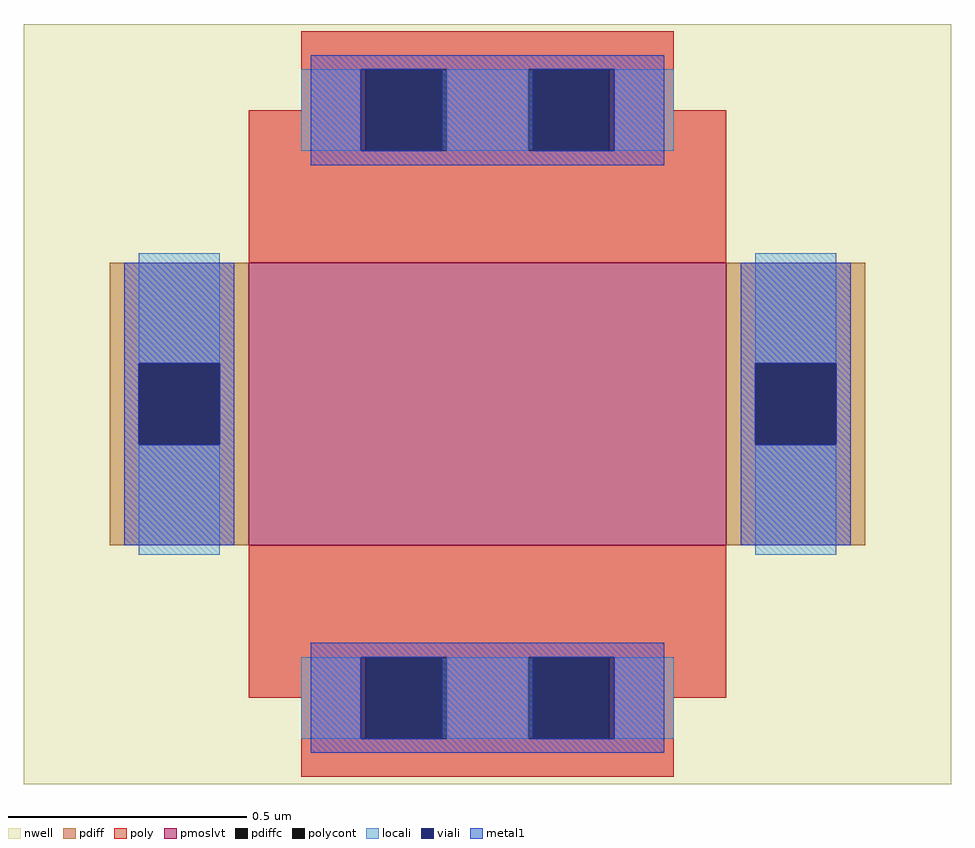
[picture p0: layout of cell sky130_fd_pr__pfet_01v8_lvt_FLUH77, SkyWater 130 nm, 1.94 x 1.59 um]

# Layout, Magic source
magic
tech sky130A
magscale 1 2
<< nwell >>
rect -194 -159 194 159
<< pmoslvt >>
rect -100 -59 100 59
<< pdiff >>
rect -158 17 -100 59
rect -158 -17 -146 17
rect -112 -17 -100 17
rect -158 -59 -100 -17
rect 100 17 158 59
rect 100 -17 112 17
rect 146 -17 158 17
rect 100 -59 158 -17
<< pdiffc >>
rect -146 -17 -112 17
rect 112 -17 146 17
<< poly >>
rect -78 140 78 156
rect -78 123 -51 140
rect -100 106 -51 123
rect -17 106 17 140
rect 51 123 78 140
rect 51 106 100 123
rect -100 59 100 106
rect -100 -106 100 -59
rect -100 -123 -51 -106
rect -78 -140 -51 -123
rect -17 -140 17 -106
rect 51 -123 100 -106
rect 51 -140 78 -123
rect -78 -156 78 -140
<< polycont >>
rect -51 106 -17 140
rect 17 106 51 140
rect -51 -140 -17 -106
rect 17 -140 51 -106
<< locali >>
rect -78 106 -53 140
rect -17 106 17 140
rect 53 106 78 140
rect -146 17 -112 63
rect -146 -63 -112 -17
rect 112 17 146 63
rect 112 -63 146 -17
rect -78 -140 -53 -106
rect -17 -140 17 -106
rect 53 -140 78 -106
<< viali >>
rect -53 106 -51 140
rect -51 106 -19 140
rect 19 106 51 140
rect 51 106 53 140
rect -146 -17 -112 17
rect 112 -17 146 17
rect -53 -140 -51 -106
rect -51 -140 -19 -106
rect 19 -140 51 -106
rect 51 -140 53 -106
<< metal1 >>
rect -74 140 74 146
rect -74 106 -53 140
rect -19 106 19 140
rect 53 106 74 140
rect -74 100 74 106
rect -152 17 -106 59
rect -152 -17 -146 17
rect -112 -17 -106 17
rect -152 -59 -106 -17
rect 106 17 152 59
rect 106 -17 112 17
rect 146 -17 152 17
rect 106 -59 152 -17
rect -74 -106 74 -100
rect -74 -140 -53 -106
rect -19 -140 19 -106
rect 53 -140 74 -106
rect -74 -146 74 -140
<< end >>
